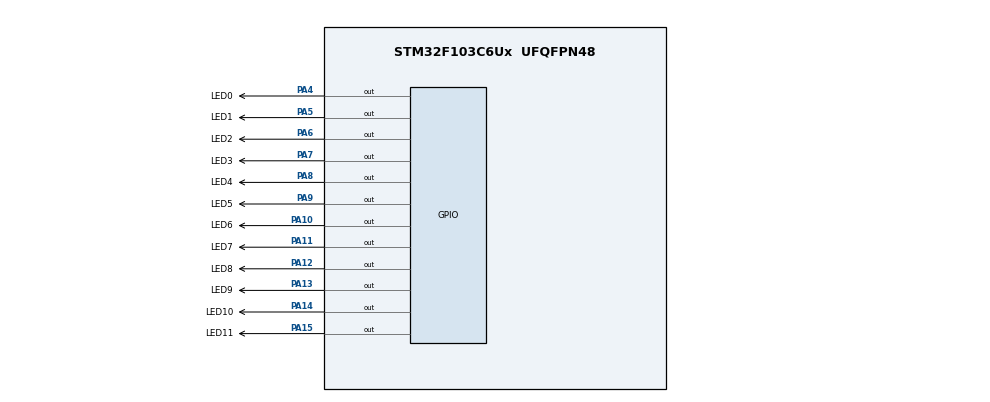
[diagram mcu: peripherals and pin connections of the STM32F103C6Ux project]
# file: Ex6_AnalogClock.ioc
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Mcu.Family=STM32F1
Mcu.Name=STM32F103C6Ux
Mcu.Package=UFQFPN48
NVIC.PriorityGroup=NVIC_PRIORITYGROUP_4
PA10.GPIO_Label=LED6
PA10.Signal=GPIO_Output
PA11.GPIO_Label=LED7
PA11.Signal=GPIO_Output
PA12.GPIO_Label=LED8
PA12.Signal=GPIO_Output
PA13.GPIO_Label=LED9
PA13.Signal=GPIO_Output
PA14.GPIO_Label=LED10
PA14.Signal=GPIO_Output
PA15.GPIO_Label=LED11
PA15.Signal=GPIO_Output
PA4.GPIO_Label=LED0
PA4.Signal=GPIO_Output
PA5.GPIO_Label=LED1
PA5.Signal=GPIO_Output
PA6.GPIO_Label=LED2
PA6.Signal=GPIO_Output
PA7.GPIO_Label=LED3
PA7.Signal=GPIO_Output
PA8.GPIO_Label=LED4
PA8.Signal=GPIO_Output
PA9.GPIO_Label=LED5
PA9.Signal=GPIO_Output
ProjectManager.HeapSize=0x200
ProjectManager.StackSize=0x400
ProjectManager.TargetToolchain=STM32CubeIDE
RCC.APB1Freq_Value=8000000
RCC.APB2Freq_Value=8000000
VP_SYS_VS_ND.Mode=No_Debug
board=custom

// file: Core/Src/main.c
/* USER CODE BEGIN Header */
/**
  ******************************************************************************
  * @file           : main.c
  * @brief          : Main program body
  ******************************************************************************
  * @attention
  *
  * <h2><center>&copy; Copyright (c) 2023 STMicroelectronics.
  * All rights reserved.</center></h2>
  *
  * This software component is licensed by ST under BSD 3-Clause license,
  * the "License"; You may not use this file except in compliance with the
  * License. You may obtain a copy of the License at:
  *                        opensource.org/licenses/BSD-3-Clause
  *
  ******************************************************************************
  */
/* USER CODE END Header */
#include "main.h"

void SystemClock_Config(void);
static void MX_GPIO_Init(void);

/* USER CODE BEGIN 0 */
void clearAllClock () {
	  HAL_GPIO_WritePin(LED0_GPIO_Port, LED0_Pin, SET);
	  HAL_GPIO_WritePin(LED1_GPIO_Port, LED1_Pin, SET);
	  HAL_GPIO_WritePin(LED2_GPIO_Port, LED2_Pin, SET);
	  HAL_GPIO_WritePin(LED3_GPIO_Port, LED3_Pin, SET);
	  HAL_GPIO_WritePin(LED4_GPIO_Port, LED4_Pin, SET);
	  HAL_GPIO_WritePin(LED5_GPIO_Port, LED5_Pin, SET);
	  HAL_GPIO_WritePin(LED6_GPIO_Port, LED6_Pin, SET);
	  HAL_GPIO_WritePin(LED7_GPIO_Port, LED7_Pin, SET);
	  HAL_GPIO_WritePin(LED8_GPIO_Port, LED8_Pin, SET);
	  HAL_GPIO_WritePin(LED9_GPIO_Port, LED9_Pin, SET);
	  HAL_GPIO_WritePin(LED10_GPIO_Port, LED10_Pin, SET);
	  HAL_GPIO_WritePin(LED11_GPIO_Port, LED11_Pin, SET);
}

void setNumberOnClock(int num){

	switch(num){
		 case 0:
			 HAL_GPIO_WritePin(LED0_GPIO_Port, LED0_Pin, RESET);
		 		 break;
		 case 1:
			 HAL_GPIO_WritePin(LED1_GPIO_Port, LED1_Pin, RESET);
		 		 break;
		 case 2:
			 HAL_GPIO_WritePin(LED2_GPIO_Port, LED2_Pin, RESET);
		 		 break;
		 case 3:
			 HAL_GPIO_WritePin(LED3_GPIO_Port, LED3_Pin, RESET);
		 		 break;
		 case 4:
			 HAL_GPIO_WritePin(LED4_GPIO_Port, LED4_Pin, RESET);
		 		 break;
		 case 5:
			 HAL_GPIO_WritePin(LED5_GPIO_Port, LED5_Pin, RESET);
		 		 break;
		 case 6:
			 HAL_GPIO_WritePin(LED6_GPIO_Port, LED6_Pin, RESET);
		 		 break;
		 case 7:
			 HAL_GPIO_WritePin(LED7_GPIO_Port, LED7_Pin, RESET);
		 		 break;
		 case 8:
			 HAL_GPIO_WritePin(LED8_GPIO_Port, LED8_Pin, RESET);
		 		 break;
		 case 9:
			 HAL_GPIO_WritePin(LED9_GPIO_Port, LED9_Pin, RESET);
		 		 break;
		 case 10:
			 HAL_GPIO_WritePin(LED10_GPIO_Port, LED10_Pin, RESET);
		 		 break;
		 case 11:
			 HAL_GPIO_WritePin(LED11_GPIO_Port, LED11_Pin, RESET);
		 		 break;
		 default:
			 break;
		 }
}

void clearNumberOnClock(int num){

	switch(num){
		 case 0:
			 HAL_GPIO_WritePin(LED0_GPIO_Port, LED0_Pin, SET);
		 		 break;
		 case 1:
			 HAL_GPIO_WritePin(LED1_GPIO_Port, LED1_Pin, SET);
		 		 break;
		 case 2:
			 HAL_GPIO_WritePin(LED2_GPIO_Port, LED2_Pin, SET);
		 		 break;
		 case 3:
			 HAL_GPIO_WritePin(LED3_GPIO_Port, LED3_Pin, SET);
		 		 break;
		 case 4:
			 HAL_GPIO_WritePin(LED4_GPIO_Port, LED4_Pin, SET);
		 		 break;
		 case 5:
			 HAL_GPIO_WritePin(LED5_GPIO_Port, LED5_Pin, SET);
		 		 break;
		 case 6:
			 HAL_GPIO_WritePin(LED6_GPIO_Port, LED6_Pin, SET);
		 		 break;
		 case 7:
			 HAL_GPIO_WritePin(LED7_GPIO_Port, LED7_Pin, SET);
		 		 break;
		 case 8:
			 HAL_GPIO_WritePin(LED8_GPIO_Port, LED8_Pin, SET);
		 		 break;
		 case 9:
			 HAL_GPIO_WritePin(LED9_GPIO_Port, LED9_Pin, SET);
		 		 break;
		 case 10:
			 HAL_GPIO_WritePin(LED10_GPIO_Port, LED10_Pin, SET);
		 		 break;
		 case 11:
			 HAL_GPIO_WritePin(LED11_GPIO_Port, LED11_Pin, SET);
		 		 break;
		 default:
			 break;
		 }
}

/* USER CODE END 0 */

int main(void)
{

  /* MCU Configuration--------------------------------------------------------*/

  /* Reset of all peripherals, Initializes the Flash interface and the Systick. */
  HAL_Init();

  /* Configure the system clock */
  SystemClock_Config();

  /* Initialize all configured peripherals */
  MX_GPIO_Init();

  /* Infinite loop */
  /* USER CODE BEGIN WHILE */
  int sec = 0;
  int min = 58;
  int hour = 8;
  clearAllClock();			// initiate turn off all LEDs.

  while (1)
  {
	 // turn on LEDs in order , it's up to counter.
	 switch(counter){
	 case 0:
		 HAL_GPIO_WritePin(LED0_GPIO_Port, LED0_Pin, RESET);
	 		 break;
	 case 1:
		 HAL_GPIO_WritePin(LED1_GPIO_Port, LED1_Pin, RESET);
	 		 break;
	 case 2:
		 HAL_GPIO_WritePin(LED2_GPIO_Port, LED2_Pin, RESET);
	 		 break;
	 case 3:
		 HAL_GPIO_WritePin(LED3_GPIO_Port, LED3_Pin, RESET);
	 		 break;
	 case 4:
		 HAL_GPIO_WritePin(LED4_GPIO_Port, LED4_Pin, RESET);
	 		 break;
	 case 5:
		 HAL_GPIO_WritePin(LED5_GPIO_Port, LED5_Pin, RESET);
	 		 break;
	 case 6:
		 HAL_GPIO_WritePin(LED6_GPIO_Port, LED6_Pin, RESET);
	 		 break;
	 case 7:
		 HAL_GPIO_WritePin(LED7_GPIO_Port, LED7_Pin, RESET);
	 		 break;
	 case 8:
		 HAL_GPIO_WritePin(LED8_GPIO_Port, LED8_Pin, RESET);
	 		 break;
	 case 9:
		 HAL_GPIO_WritePin(LED9_GPIO_Port, LED9_Pin, RESET);
	 		 break;
	 case 10:
		 HAL_GPIO_WritePin(LED10_GPIO_Port, LED10_Pin, RESET);
	 		 break;
	 case 11:
		 HAL_GPIO_WritePin(LED11_GPIO_Port, LED11_Pin, RESET);
	 		 break;
	 default:
		 break;
	 }

	 counter++;

	  //Xoa thoi gian cu
	  clearNumberOnClock((sec-1)/5);
	  clearNumberOnClock((min-1)/5);
	  clearNumberOnClock(hour-1);

	  //Xu li
	  if (sec == 60 ){
		  sec = 0;
		  ++min;
	  }
	  if (min == 60){
		  min = 0;
		  ++hour;
	  }
	  if (hour == 24){
		  hour = 0;
	  }

	  //Cap nhat thoi gian
	  setNumberOnClock(sec/5);	//5s chuyen 1 LED
	  setNumberOnClock(min/5);	//5p chuyen 1 LED
	  setNumberOnClock(hour);

	  ++sec;
	 HAL_Delay(1000);
    /* USER CODE END WHILE */

  }
}

void SystemClock_Config(void)
{
  RCC_OscInitTypeDef RCC_OscInitStruct = {0};
  RCC_ClkInitTypeDef RCC_ClkInitStruct = {0};

  /** Initializes the RCC Oscillators according to the specified parameters
  * in the RCC_OscInitTypeDef structure.
  */
  RCC_OscInitStruct.OscillatorType = RCC_OSCILLATORTYPE_HSI;
  RCC_OscInitStruct.HSIState = RCC_HSI_ON;
  RCC_OscInitStruct.HSICalibrationValue = RCC_HSICALIBRATION_DEFAULT;
  RCC_OscInitStruct.PLL.PLLState = RCC_PLL_NONE;
  if (HAL_RCC_OscConfig(&RCC_OscInitStruct) != HAL_OK)
  {
    Error_Handler();
  }
  /** Initializes the CPU, AHB and APB buses clocks
  */
  RCC_ClkInitStruct.ClockType = RCC_CLOCKTYPE_HCLK|RCC_CLOCKTYPE_SYSCLK
                              |RCC_CLOCKTYPE_PCLK1|RCC_CLOCKTYPE_PCLK2;
  RCC_ClkInitStruct.SYSCLKSource = RCC_SYSCLKSOURCE_HSI;
  RCC_ClkInitStruct.AHBCLKDivider = RCC_SYSCLK_DIV1;
  RCC_ClkInitStruct.APB1CLKDivider = RCC_HCLK_DIV1;
  RCC_ClkInitStruct.APB2CLKDivider = RCC_HCLK_DIV1;

  if (HAL_RCC_ClockConfig(&RCC_ClkInitStruct, FLASH_LATENCY_0) != HAL_OK)
  {
    Error_Handler();
  }
}

static void MX_GPIO_Init(void)
{
  GPIO_InitTypeDef GPIO_InitStruct = {0};

  /* GPIO Ports Clock Enable */
  __HAL_RCC_GPIOA_CLK_ENABLE();

  /*Configure GPIO pin Output Level */
  HAL_GPIO_WritePin(GPIOA, LED0_Pin|LED1_Pin|LED2_Pin|LED3_Pin
                          |LED4_Pin|LED5_Pin|LED6_Pin|LED7_Pin
                          |LED8_Pin|LED9_Pin|LED10_Pin|LED11_Pin, GPIO_PIN_RESET);

  /*Configure GPIO pins : LED0_Pin LED1_Pin LED2_Pin LED3_Pin
                           LED4_Pin LED5_Pin LED6_Pin LED7_Pin
                           LED8_Pin LED9_Pin LED10_Pin LED11_Pin */
  GPIO_InitStruct.Pin = LED0_Pin|LED1_Pin|LED2_Pin|LED3_Pin
                          |LED4_Pin|LED5_Pin|LED6_Pin|LED7_Pin
                          |LED8_Pin|LED9_Pin|LED10_Pin|LED11_Pin;
  GPIO_InitStruct.Mode = GPIO_MODE_OUTPUT_PP;
  GPIO_InitStruct.Pull = GPIO_NOPULL;
  GPIO_InitStruct.Speed = GPIO_SPEED_FREQ_LOW;
  HAL_GPIO_Init(GPIOA, &GPIO_InitStruct);

}

void Error_Handler(void)
{
  __disable_irq();
  while (1)
  {
  }
}

/************************ (C) COPYRIGHT STMicroelectronics *****END OF FILE****/
